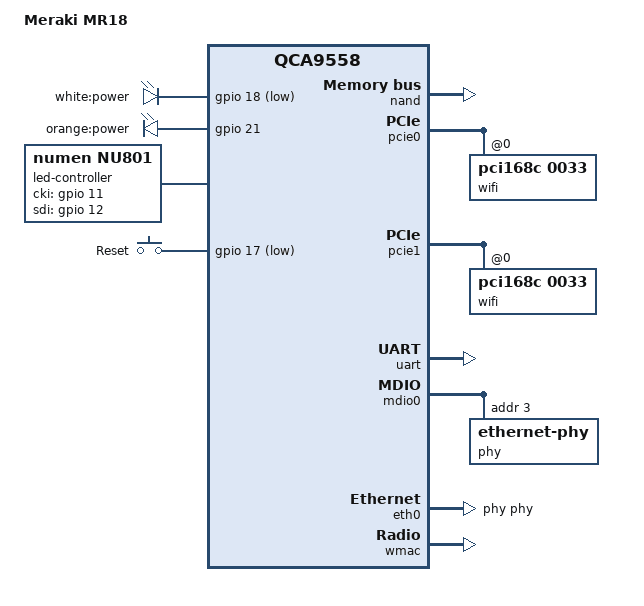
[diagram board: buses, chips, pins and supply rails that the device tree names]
// SPDX-License-Identifier: GPL-2.0-or-later OR MIT

#include "qca955x.dtsi"

#include <dt-bindings/gpio/gpio.h>
#include <dt-bindings/input/input.h>
#include <dt-bindings/leds/common.h>

/ {
	compatible = "meraki,mr18", "qca,qca9558";
	model = "Meraki MR18";

	aliases {
		label-mac-device = &eth0;
		led-boot = &sys_green;
		led-failsafe = &sys_red;
		led-running = &sys_green;
		led-upgrade = &pwr_orange;
	};

	leds {
		compatible = "gpio-leds";

		white {
			label = "white:power";
			gpios = <&gpio 18 GPIO_ACTIVE_LOW>;
		};

		pwr_orange: orange {
			label = "orange:power";
			gpios = <&gpio 21 GPIO_ACTIVE_HIGH>;
			panic-indicator;
		};
	};

	led-controller {
		compatible = "numen,nu801";

		cki-gpios = <&gpio 11 GPIO_ACTIVE_HIGH>;
		sdi-gpios = <&gpio 12 GPIO_ACTIVE_HIGH>;
		clock-delay-ns = <500>;

		chip@0 {
			reg = <0>;

			chan@0 {
				reg = <0>;
				color = <LED_COLOR_ID_BLUE>;
				function = LED_FUNCTION_INDICATOR;
				label = "blue:tricolor";
				default-state = "off";
			};

			sys_green: chan@1 {
				reg = <1>;
				color = <LED_COLOR_ID_GREEN>;
				function = LED_FUNCTION_INDICATOR;
				label = "green:tricolor";
				default-state = "on";
			};

			sys_red: chan@2 {
				reg = <2>;
				color = <LED_COLOR_ID_RED>;
				function = LED_FUNCTION_INDICATOR;
				label = "red:tricolor";
				default-state = "off";
			};
		};
	};

	button {
		compatible = "gpio-keys";

		reset {
			label = "Reset";
			linux,code = <KEY_RESTART>;
			gpios = <&gpio 17 GPIO_ACTIVE_LOW>;
			debounce-interval = <60>;
		};

	};
};

&nand {
	status = "okay";

	nand-ecc-mode = "soft";
	nand-ecc-algo = "bch";
	nand-ecc-strength = <4>;
	nand-ecc-step-size = <512>;
	nand-is-boot-medium;

	partitions {
		compatible = "fixed-partitions";
		#address-cells = <1>;
		#size-cells = <1>;

		partition@0 {
			label = "nandloader";
			reg = <0x0 0x80000>;
			read-only;
		};

		partition@80000 {
			label = "kernel";
			reg = <0x80000 0x800000>;
		};

		partition@880000 {
			label = "recovery";
			reg = <0x880000 0x800000>;
		};

		partition@1080000 {
			label = "ubi";
			reg = <0x1080000 0x6f00000>;
		};

		partition@7fe0000 {
			label = "odm-caldata";
			reg = <0x7fe0000 0x20000>;
			read-only;
		};
	};
};

&pcie0 {
	status = "okay";

	wifi@0,0 {
		compatible = "pci168c,0033";
		reg = <0x0000 0 0 0 0>;
		qca,no-eeprom;
	};
};

&pcie1 {
	status = "okay";

	wifi@0,0 {
		compatible = "pci168c,0033";
		reg = <0x0000 0 0 0 0>;
		qca,no-eeprom;
	};
};

&uart {
	status = "okay";
};

&mdio0 {
	status = "okay";

	phy: ethernet-phy@3 {
		reg = <3>;
	};
};

&eth0 {
	status = "okay";
	pll-data = <0xa6000000 0xa0000101 0x80001313>;
	phy-handle = <&phy>;

	gmac-config {
		device = <&gmac>;
		rgmii-enabled = <1>;
		rxd-delay = <3>;
		rxdv-delay = <3>;
	};
};

&wmac {
	status = "okay";
	qca,no-eeprom;
};
